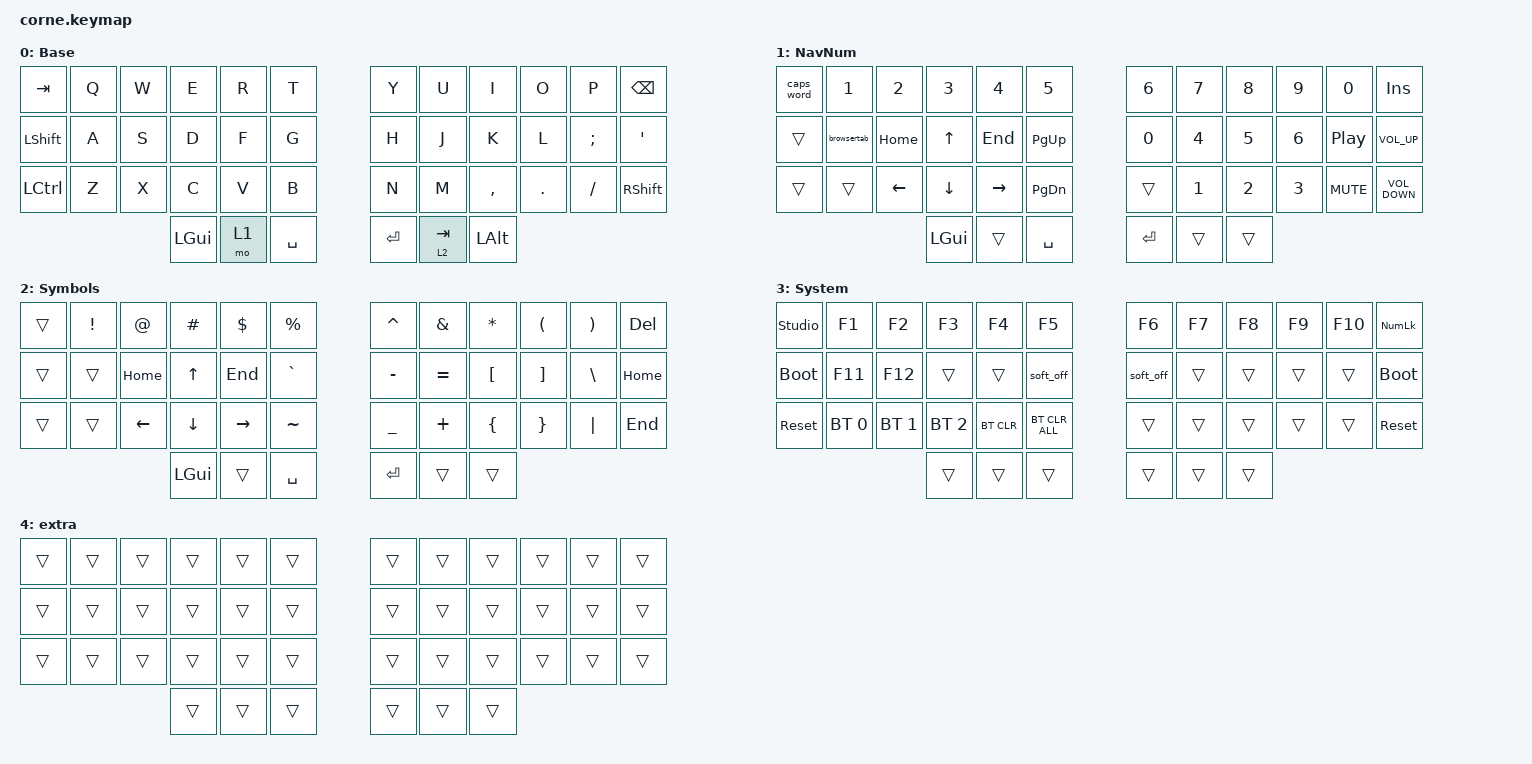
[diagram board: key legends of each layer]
#include <behaviors.dtsi>
#include <dt-bindings/zmk/bt.h>
#include <dt-bindings/zmk/keys.h>

#define DEF 0
#define NAV 1
#define SYM 2
#define ADJ 3
#define EXTRA 4

/ {
    behaviors {
        hm: homerow_mods {
            compatible = "zmk,behavior-hold-tap";
            label = "HOMEROW_MODS";
            #binding-cells = <2>;
            tapping-term-ms = <200>;
            quick_tap_ms = <0>;
            flavor = "tap-preferred";
            bindings = <&kp>, <&kp>;

            quick-tap-ms = <180>;
            global-quick-tap;
        };

        para: para {
            compatible = "zmk,behavior-tap-dance";
            label = "PARA";
            #binding-cells = <0>;
            bindings = <&kp LEFT_PARENTHESIS>, <&kp RIGHT_PARENTHESIS>;
        };

        caps: caps {
            compatible = "zmk,behavior-caps-word";
            label = "CAPS";
            #binding-cells = <0>;
            continue-list = <MINUS BACKSPACE>;
        };

        paraless: paraless {
            compatible = "zmk,behavior-mod-morph";
            label = "PARALESS";
            bindings = <&kp LEFT_PARENTHESIS>, <&kp LESS_THAN>;

            #binding-cells = <0>;
            mods = <(MOD_LSFT)>;
        };

        paragreat: paragreat {
            compatible = "zmk,behavior-mod-morph";
            label = "PARAGREAT";
            bindings = <&kp RIGHT_PARENTHESIS>, <&kp GREATER_THAN>;

            #binding-cells = <0>;
            mods = <(MOD_LSFT)>;
        };

        bkspshdel: bkspshdel {
            compatible = "zmk,behavior-mod-morph";
            label = "BKSPSHDEL";
            bindings = <&kp BACKSPACE>, <&kp DELETE>;

            #binding-cells = <0>;
            mods = <(MOD_LSFT)>;
        };

        homeend: homeend {
            compatible = "zmk,behavior-mod-morph";
            label = "HOMEEND";
            bindings = <&kp HOME>, <&kp END>;

            #binding-cells = <0>;
            mods = <(MOD_LSFT)>;
        };
    };

    macros {
        browsertab: browsertab {
            compatible = "zmk,behavior-macro";
            #binding-cells = <0>;
            bindings =
                <&macro_press>,
                <&kp LCTRL>,
                <&macro_tap>,
                <&kp TAB>,
                <&macro_release>,
                <&kp LCTRL>;
        };
    };

    combos {
        compatible = "zmk,combos";

        escape {
            bindings = <&kp ESCAPE>;
            key-positions = <13 29>;
        };

        delete {
            bindings = <&kp DELETE>;
            key-positions = <15 21>;
        };

        perc {
            bindings = <&kp PERCENT>;
            key-positions = <5 17>;
        };

        equal {
            bindings = <&kp EQUAL>;
            key-positions = <28 16>;
        };

        dollar {
            bindings = <&kp DOLLAR>;
            key-positions = <4 16>;
        };

        pound {
            bindings = <&kp POUND>;
            key-positions = <3 15>;
        };

        at {
            bindings = <&kp AT>;
            key-positions = <2 14>;
        };

        backslash {
            bindings = <&kp BACKSLASH>;
            key-positions = <27 15>;
        };

        copy {
            bindings = <&kp K_COPY>;
            key-positions = <28 27>;
        };

        paste {
            bindings = <&kp K_PASTE>;
            key-positions = <26 27>;
        };

        star {
            bindings = <&kp STAR>;
            key-positions = <8 20>;
        };

        slash {
            bindings = <&kp SLASH>;
            key-positions = <32 20>;
        };

        plus {
            bindings = <&kp PLUS>;
            key-positions = <7 19>;
        };

        minus {
            bindings = <&kp KP_MINUS>;
            key-positions = <31 19>;
        };

        underscore {
            bindings = <&kp UNDER>;
            key-positions = <30 18>;
        };

        leftbrack {
            bindings = <&kp LEFT_BRACKET>;
            key-positions = <31 32>;
        };

        rightbrack {
            bindings = <&kp RIGHT_BRACKET>;
            key-positions = <33 32>;
        };

        para-less {
            bindings = <&paraless>;
            key-positions = <20 19>;
        };

        para-great {
            bindings = <&paragreat>;
            key-positions = <20 21>;
        };
    };

    //

    keymap {
        compatible = "zmk,keymap";

        DEF {
            display-name = "Base";

            // -----------------------------------------------------------------------------------------
            // |  Q  |  W  |  E  |  R  |  T  |   |  Y  |  U   |  I  |  O  |  P  |
            // |  A  |  S  |  D  |  F  |  G  |   |  H  |  J   |  K  |  L  |  ;  |
            // |  Z  |  X  |  C  |  V  |  B  |   |  N  |  M   |  ,  |  .  |  /  |
            // | GUI | CTRL | SHFT | LWR | SPC |   | ENT | RSE  | BKSP | ALT | ESC |

            bindings = <
&kp TAB    &kp Q  &kp W  &kp E     &kp R  &kp T        &kp Y    &kp U      &kp I         &kp O    &kp P     &kp BACKSPACE
&kp LSHFT  &kp A  &kp S  &kp D     &kp F  &kp G        &kp H    &kp J      &kp K         &kp L    &kp SEMI  &kp SQT
&kp LCTRL  &kp Z  &kp X  &kp C     &kp V  &kp B        &kp N    &kp M      &kp COMMA     &kp DOT  &kp FSLH  &kp RSHFT
                         &kp LGUI  &mo 1  &kp SPACE    &kp RET  &lt 2 TAB  &kp LEFT_ALT
            >;
        };

        NAV {
            display-name = "NavNum";

            // -----------------------------------------------------------------------------------------
            // |  TAB |  1  |  2  |  3  |  4  |  5  |   |  6  |  7  |  8  |  9  |  0  | BKSP |
            // | BTCLR| BT1 | BT2 | BT3 | BT4 | BT5 |   | LFT | DWN |  UP | RGT |     |      |
            // | SHFT |     |     |     |     |     |   |     |     |     |     |     |      |
            // | GUI | CTRL | SHFT | LWR | SPC |   | ENT | RSE  | BKSP | ALT | ESC |

            bindings = <
&caps_word  &kp N1       &kp N2    &kp N3        &kp N4           &kp N5           &kp N6   &kp N7  &kp N8  &kp N9  &kp N0            &kp INSERT
&trans      &browsertab  &kp HOME  &kp UP_ARROW  &kp END          &kp PAGE_UP      &kp N0   &kp N4  &kp N5  &kp N6  &kp C_PLAY_PAUSE  &kp C_VOLUME_UP
&trans      &trans       &kp LEFT  &kp DOWN      &kp RIGHT_ARROW  &kp PAGE_DOWN    &trans   &kp N1  &kp N2  &kp N3  &kp C_MUTE        &kp C_VOLUME_DOWN
                                   &kp LGUI      &trans           &kp SPACE        &kp RET  &trans  &trans
            >;
        };

        SYM {
            display-name = "Symbols";

            // -----------------------------------------------------------------------------------------
            // |  TAB |  !  |  @  |  #  |  $  |  %  |   |  ^  |  &  |  *  |  (  |  )  | BKSP |
            // | CTRL |     |     |     |     |     |   |  -  |  =  |  [  |  ]  |  \  |  `   |
            // | SHFT |     |     |     |     |     |   |  _  |  +  |  {  |  }  | "|" |  ~   |
            //                    | GUI |     | SPC |   | ENT |     | ALT |

            bindings = <
&trans  &kp EXCL  &kp AT          &kp HASH        &kp DLLR         &kp PRCNT    &kp CARET  &kp AMPS   &kp ASTRK  &kp LEFT_PARENTHESIS  &kp RPAR  &kp DELETE
&trans  &trans    &kp HOME        &kp UP_ARROW    &kp END          &kp GRAVE    &kp MINUS  &kp EQUAL  &kp LBKT   &kp RBKT              &kp BSLH  &kp HOME
&trans  &trans    &kp LEFT_ARROW  &kp DOWN_ARROW  &kp RIGHT_ARROW  &kp TILDE    &kp UNDER  &kp PLUS   &kp LBRC   &kp RBRC              &kp PIPE  &kp END
                                  &kp LGUI        &trans           &kp SPACE    &kp RET    &trans     &trans
            >;
        };

        ADJ {
            display-name = "System";
            bindings = <
&studio_unlock  &kp F1        &kp F2        &kp F3        &kp F4      &kp F5            &kp F6     &kp F7  &kp F8  &kp F9  &kp F10  &kp KP_NUMLOCK
&bootloader     &kp F11       &kp F12       &trans        &trans      &soft_off         &soft_off  &trans  &trans  &trans  &trans   &bootloader
&sys_reset      &bt BT_SEL 0  &bt BT_SEL 1  &bt BT_SEL 2  &bt BT_CLR  &bt BT_CLR_ALL    &trans     &trans  &trans  &trans  &trans   &sys_reset
                                            &trans        &trans      &trans            &trans     &trans  &trans
            >;
        };

        EXTRA {
            display-name = "extra";
            bindings = <
&trans  &trans  &trans  &trans  &trans  &trans    &trans  &trans  &trans  &trans  &trans  &trans
&trans  &trans  &trans  &trans  &trans  &trans    &trans  &trans  &trans  &trans  &trans  &trans
&trans  &trans  &trans  &trans  &trans  &trans    &trans  &trans  &trans  &trans  &trans  &trans
                        &trans  &trans  &trans    &trans  &trans  &trans
            >;
        };
    };

    conditional_layers {
        compatible = "zmk,conditional-layers";

        l3 {
            if-layers = <1 2>;
            then-layer = <3>;
        };
    };
};
